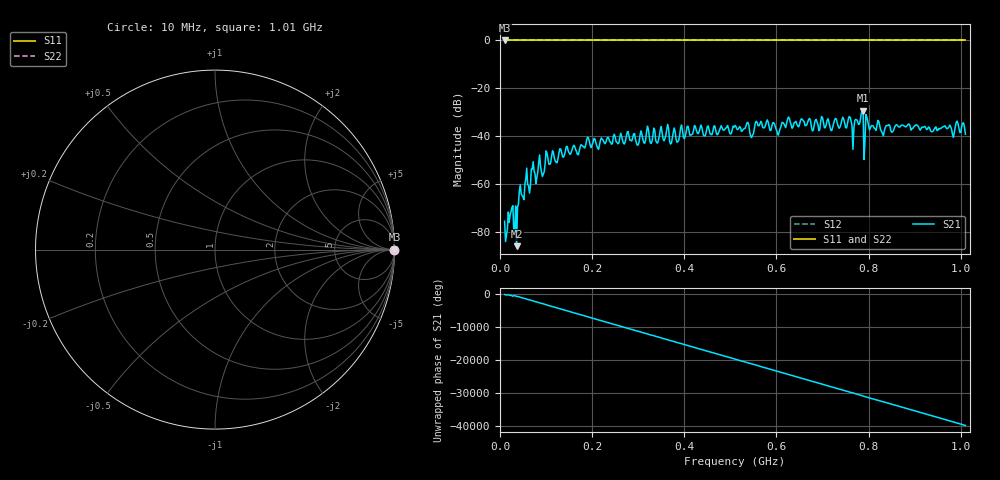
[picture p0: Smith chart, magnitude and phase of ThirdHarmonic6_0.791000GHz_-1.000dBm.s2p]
! 8/16/2025 2:23:56 AM
! C:\ANRITSUVNA\TEMP\TEMP.S2P
! CHANNEL.1
! TR.MEASUREMENT
! RAW.DATA
! RF.CORRECTION.OFF
! AVERAGING.OFF
! IF.BANDWIDTH: 5KHZ
! SWEEPTYPE:  FREQ.SWEEP(Linear)
! Reference Plane Port Info
! PORT:  PORT1  PORT2
! DISTANCE:  0  m  0  m
! TIME:  0  s  0  s
! PHASE.OFFSET:  0  deg.  0  deg.
! LOSS:  0  dB  0  dB
! REF.LOSS:  0  dB  0  dB
! REF.FREQ:  0  Hz  0  Hz
! Power Info
! POWER:  -20  dBm  -20  dBm
! EFF.POWER:  -20  dBm  -20  dBm
! SOURCE.ATTEN:  0  dB  0  dB
! TEST.ATTEN:  0  dB  0  dB
# GHZ S RI R 50.0
! FREQ.GHZ  S11RE  S11IM  S21RE  S21IM  S12RE  S12IM  S22RE  S22IM
!; PortSelection: Port_12
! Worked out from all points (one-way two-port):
!   501 points, 10 MHz to 1.01 GHz, reference 50 ohm
!   highest |S21| = -29.33 dB at 788 MHz (marker M1); lowest = -86.1 dB at 36 MHz (marker M2)
!   lowest |S11| = 0.0 dB at 10 MHz (marker M3)
!   |S11| at or under -10 dB: nowhere
!   |S22| runs from 0.0 to 0.0 dB; largest |S21 - S12| = 1
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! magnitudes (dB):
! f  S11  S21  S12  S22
! 10 MHz  0.0  -75.6  0.0  0.0
! 24 MHz  0.0  -71.5  0.0  0.0
! 36 MHz  0.0  -86.1  0.0  0.0
! 42 MHz  0.0  -63.0  0.0  0.0
! 72 MHz  0.0  -50.7  0.0  0.0
! 78 MHz  0.0  -59.9  0.0  0.0
! 86 MHz  0.0  -47.9  0.0  0.0
! 94 MHz  0.0  -55.9  0.0  0.0
! 102 MHz  0.0  -47.2  0.0  0.0
! 178 MHz  0.0  -43.9  0.0  0.0
! 344 MHz  0.0  -41.6  0.0  0.0
! 510 MHz  0.0  -35.6  0.0  0.0
! 536 MHz  0.0  -34.4  0.0  0.0
! 546 MHz  0.0  -40.6  0.0  0.0
! 558 MHz  0.0  -34.3  0.0  0.0
! 678 MHz  0.0  -37.9  0.0  0.0
! 758 MHz  0.0  -31.8  0.0  0.0
! 766 MHz  0.0  -45.6  0.0  0.0
! 784 MHz  0.0  -30.6  0.0  0.0
! 788 MHz  0.0  -29.3  0.0  0.0
! 844 MHz  0.0  -35.2  0.0  0.0
! 1.01 GHz  0.0  -39.2  0.0  0.0
